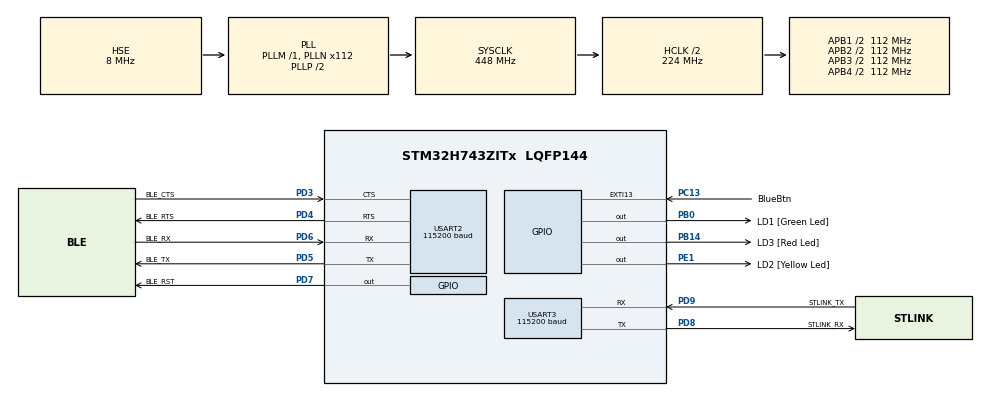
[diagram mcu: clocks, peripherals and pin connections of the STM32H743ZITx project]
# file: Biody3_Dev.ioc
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Mcu.Family=STM32H7
NVIC.USART3_IRQn=true\:0\:0\:false\:false\:true\:true\:true
RCC.CortexFreq_Value=448000000
RCC.HPRE=RCC_HCLK_DIV2
PH0-OSC_IN\ (PH0).Signal=RCC_OSC_IN
PB14.GPIO_Label=LD3 [Red Led]
PC15-OSC32_OUT\ (OSC32_OUT).Mode=LSE-External-Oscillator
RCC.PLLFRACN=0
USART3.ClockPrescaler=PRESCALER_DIV1
PB0.GPIO_Label=LD1 [Green Led]
RCC.PLL2FRACN=6144
PC13.GPIO_Label=BlueBtn
PD6.GPIO_Label=BLE_RX
PD9.Mode=Asynchronous
RCC.SYSCLKSource=RCC_SYSCLKSOURCE_PLLCLK
ProjectManager.StackSize=0x400
USART3.VirtualMode-Asynchronous=VM_ASYNC
VP_TIM7_VS_ClockSourceINT.Mode=Enable_Timer
USART3.BaudRate=115200
RCC.ADCCLockSelection=RCC_ADCCLKSOURCE_PLL3
RCC.HCLKFreq_Value=224000000
PD4.Signal=USART2_RTS
TIM7.Period=224-1
PD8.Signal=USART3_TX
PE1.Signal=GPIO_Output
PD5.Mode=Asynchronous
NVIC.EXTI15_10_IRQn=true\:0\:0\:false\:false\:true\:true\:true
RCC.HSE_VALUE=8000000
RCC.DIVM3=1
USART2.VirtualMode-Asynchronous=VM_ASYNC
RCC.DIVM2=1
RCC.DIVM1=1
RCC.RCC_MCO1Source=RCC_MCO1SOURCE_PLL1QCLK
RCC.RCC_MCODiv1=RCC_MCODIV_9
USART3.FIFOMode=FIFOMODE_DISABLE
PD3.Mode=CTS_RTS
TIM7.TIM_MasterOutputTrigger=TIM_TRGO_UPDATE
PD7.GPIO_Label=BLE_RST
RCC.APB3Freq_Value=112000000
Mcu.Package=LQFP144
RCC.PLL3FRACN=0
RCC.D1PPRE=RCC_APB3_DIV2
RCC.SDMMC1CLockSelection=RCC_SDMMCCLKSOURCE_PLL2
PD5.GPIO_Label=BLE_TX
TIM7.AutoReloadPreload=TIM_AUTORELOAD_PRELOAD_ENABLE
PC14-OSC32_IN\ (OSC32_IN).Mode=LSE-External-Oscillator
PD4.Mode=CTS_RTS
RCC.APB4Freq_Value=112000000
PD3.GPIO_Label=BLE_CTS
PD6.Signal=USART2_RX
PH0-OSC_IN\ (PH0).Mode=HSE-External-Clock-Source
NVIC.TIM7_IRQn=true\:0\:0\:false\:false\:true\:true\:true
RCC.PLLSourceVirtual=RCC_PLLSOURCE_HSE
CORTEX_M7.CPU_ICache=Enabled
PD9.GPIO_Label=STLINK_TX
PC13.Signal=GPXTI13
PD3.Signal=USART2_CTS
RCC.Tim1Mul=2
PD7.Signal=GPIO_Output
RCC.D2PPRE2=RCC_APB2_DIV2
RCC.D2PPRE1=RCC_APB1_DIV2
RCC.DIVP2=1
PD9.Signal=USART3_RX
PD5.Signal=USART2_TX
PD6.Mode=Asynchronous
NVIC.USART2_IRQn=true\:0\:0\:false\:false\:true\:true\:true
USART2.BaudRate=115200
PH1-OSC_OUT\ (PH1).Signal=RCC_OSC_OUT
PD8.GPIO_Label=STLINK_RX
RCC.Tim2Mul=1
ProjectManager.TargetToolchain=SW4STM32
PC15-OSC32_OUT\ (OSC32_OUT).Signal=RCC_OSC32_OUT
RCC.DIVN3=40
RCC.DIVN2=18
RCC.DIVN1=112
RCC.USBFreq_Value=448000000
PD8.Mode=Asynchronous
PB14.Signal=GPIO_Output
TIM7.Prescaler=1000-1
board=NUCLEO-H743ZI2
PE1.GPIO_Label=LD2 [Yellow Led]
RCC.APB2Freq_Value=112000000
PD4.GPIO_Label=BLE_RTS
RCC.ADCFreq_Value=40000000
Mcu.Name=STM32H743ZITx
RCC.LockedElements=D1CPREOutput,Tim1Output
RCC.SYSCLKFreq_VALUE=448000000
PC13.GPIO_ModeDefaultEXTI=GPIO_MODE_IT_FALLING
PC14-OSC32_IN\ (OSC32_IN).Signal=RCC_OSC32_IN
ProjectManager.HeapSize=0x200
NVIC.PriorityGroup=NVIC_PRIORITYGROUP_4
RCC.D3PPRE=RCC_APB4_DIV2
CORTEX_M7.CPU_DCache=Enabled
RCC.DIVR3=8
RCC.APB1Freq_Value=112000000
RCC.DIVR2=5
PB0.Signal=GPIO_Output

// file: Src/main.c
/* USER CODE BEGIN Header */
/**
  ******************************************************************************
  * @file           : main.c
  * @brief          : Main program body
  ******************************************************************************
  * @attention
  *
  * <h2><center>&copy; Copyright (c) 2020 STMicroelectronics.
  * All rights reserved.</center></h2>
  *
  * This software component is licensed by ST under BSD 3-Clause license,
  * the "License"; You may not use this file except in compliance with the
  * License. You may obtain a copy of the License at:
  *                        opensource.org/licenses/BSD-3-Clause
  *
  ******************************************************************************
  */
/* USER CODE END Header */
#include "main.h"
#include "tim.h"
#include "usart.h"
#include "gpio.h"

/* USER CODE BEGIN Includes */
/*
 * Don't forget to put in linker misc properties
 *  -u _printf_float -u _scanf_float
 */
#include "uart.h"
#include "const.h"
#include "global.h"
/* USER CODE END Includes */

void SystemClock_Config(void);

int main(void)
{

  /* Enable I-Cache---------------------------------------------------------*/
  SCB_EnableICache();

  /* Enable D-Cache---------------------------------------------------------*/
  SCB_EnableDCache();

  /* MCU Configuration--------------------------------------------------------*/

  /* Reset of all peripherals, Initializes the Flash interface and the Systick. */
  HAL_Init();

  /* Configure the system clock */
  SystemClock_Config();

  /* Initialize all configured peripherals */
  MX_GPIO_Init();
  MX_USART3_UART_Init();
  MX_TIM7_Init();
  MX_USART2_UART_Init();
  /* USER CODE BEGIN 2 */
  HAL_TIM_Base_Start_IT(&htim7);

  rs_ctx   = uart_init(&USB_uart,RX_BUFFER_SIZE,TX_BUFFER_SIZE);
  ble_ctx  = uart_init(&BLE_uart,BLE_BUFFER_SIZE,BLE_BUFFER_SIZE);

  show_version();
  Sample_dataInit();

  /* USER CODE END 2 */

  /* Infinite loop */
  /* USER CODE BEGIN WHILE */
  while (1) {
    uart_service();
    if (timer.topms) {
      timer.topms = 0x0;
      uart_service_ms();
      if (timer.top10ms) {
        timer.top10ms = 0x0;
        if (timer.top100ms) {
          timer.top100ms = 0x0;
    	  HAL_GPIO_WritePin(LD2_GPIO_Port,LD2_Pin,timer.px100ms<2?GPIO_PIN_SET:GPIO_PIN_RESET);  //Life LED
          if (timer.topsec) {
            timer.topsec = 0x0;
          }
        }
      }
    }

    /* USER CODE END WHILE */

  }
}

void SystemClock_Config(void)
{
  RCC_OscInitTypeDef RCC_OscInitStruct = {0};
  RCC_ClkInitTypeDef RCC_ClkInitStruct = {0};
  RCC_PeriphCLKInitTypeDef PeriphClkInitStruct = {0};

  /** Supply configuration update enable
  */
  HAL_PWREx_ConfigSupply(PWR_LDO_SUPPLY);
  /** Configure the main internal regulator output voltage
  */
  __HAL_PWR_VOLTAGESCALING_CONFIG(PWR_REGULATOR_VOLTAGE_SCALE0);

  while(!__HAL_PWR_GET_FLAG(PWR_FLAG_VOSRDY)) {}
  /** Initializes the RCC Oscillators according to the specified parameters
  * in the RCC_OscInitTypeDef structure.
  */
  RCC_OscInitStruct.OscillatorType = RCC_OSCILLATORTYPE_HSE;
  RCC_OscInitStruct.HSEState = RCC_HSE_BYPASS;
  RCC_OscInitStruct.PLL.PLLState = RCC_PLL_ON;
  RCC_OscInitStruct.PLL.PLLSource = RCC_PLLSOURCE_HSE;
  RCC_OscInitStruct.PLL.PLLM = 1;
  RCC_OscInitStruct.PLL.PLLN = 112;
  RCC_OscInitStruct.PLL.PLLP = 2;
  RCC_OscInitStruct.PLL.PLLQ = 2;
  RCC_OscInitStruct.PLL.PLLR = 2;
  RCC_OscInitStruct.PLL.PLLRGE = RCC_PLL1VCIRANGE_3;
  RCC_OscInitStruct.PLL.PLLVCOSEL = RCC_PLL1VCOWIDE;
  RCC_OscInitStruct.PLL.PLLFRACN = 0;
  if (HAL_RCC_OscConfig(&RCC_OscInitStruct) != HAL_OK)
  {
    Error_Handler();
  }
  /** Initializes the CPU, AHB and APB buses clocks
  */
  RCC_ClkInitStruct.ClockType = RCC_CLOCKTYPE_HCLK|RCC_CLOCKTYPE_SYSCLK
                              |RCC_CLOCKTYPE_PCLK1|RCC_CLOCKTYPE_PCLK2
                              |RCC_CLOCKTYPE_D3PCLK1|RCC_CLOCKTYPE_D1PCLK1;
  RCC_ClkInitStruct.SYSCLKSource = RCC_SYSCLKSOURCE_PLLCLK;
  RCC_ClkInitStruct.SYSCLKDivider = RCC_SYSCLK_DIV1;
  RCC_ClkInitStruct.AHBCLKDivider = RCC_HCLK_DIV2;
  RCC_ClkInitStruct.APB3CLKDivider = RCC_APB3_DIV2;
  RCC_ClkInitStruct.APB1CLKDivider = RCC_APB1_DIV2;
  RCC_ClkInitStruct.APB2CLKDivider = RCC_APB2_DIV2;
  RCC_ClkInitStruct.APB4CLKDivider = RCC_APB4_DIV2;

  if (HAL_RCC_ClockConfig(&RCC_ClkInitStruct, FLASH_LATENCY_3) != HAL_OK)
  {
    Error_Handler();
  }
  PeriphClkInitStruct.PeriphClockSelection = RCC_PERIPHCLK_USART3|RCC_PERIPHCLK_USART2;
  PeriphClkInitStruct.Usart234578ClockSelection = RCC_USART234578CLKSOURCE_D2PCLK1;
  if (HAL_RCCEx_PeriphCLKConfig(&PeriphClkInitStruct) != HAL_OK)
  {
    Error_Handler();
  }
}

/* USER CODE BEGIN 4 */

void Sample_dataInit() {
	TableMesureGrandeursZPHI1[M5k][MZ] = 675;
	TableMesureGrandeursZPHI1[M20k][MZ] = 660;
	TableMesureGrandeursZPHI1[M50k][MZ] = 608;
	TableMesureGrandeursZPHI1[M100k][MZ] = 560;
	TableMesureGrandeursZPHI1[M200k][MZ] = 0x023A;
	TableMesureGrandeursZPHI1[M5k][MPHI] = 59;
	TableMesureGrandeursZPHI1[M20k][MPHI] = 65;
	TableMesureGrandeursZPHI1[M50k][MPHI] = 71;
	TableMesureGrandeursZPHI1[M100k][MPHI] = 81;
	TableMesureGrandeursZPHI1[M200k][MPHI] = 57;
	NiveauVBAT = 3;
}

/* USER CODE END 4 */

void Error_Handler(void)
{
}

/************************ (C) COPYRIGHT STMicroelectronics *****END OF FILE****/
